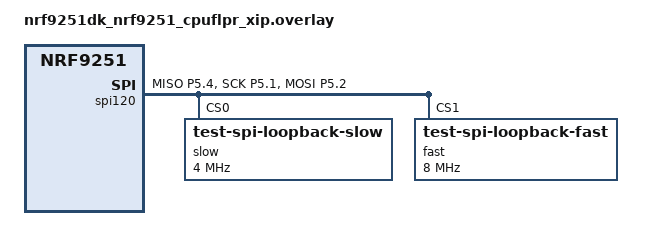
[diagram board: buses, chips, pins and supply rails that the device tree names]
/*
 * Copyright (c) 2026 Nordic Semiconductor ASA
 *
 * SPDX-License-Identifier: LicenseRef-Nordic-5-Clause
 */

&pinctrl {
	spi120_default_alt: spi120_default_alt {
		group1 {
			psels = <NRF_PSEL(SPIM_MISO, 5, 4)>;
		};

		group2 {
			psels = <NRF_PSEL(SPIM_SCK, 5, 1)>,
				<NRF_PSEL(SPIM_MOSI, 5, 2)>;
			nordic,drive-mode = <NRF_DRIVE_E0E1>;
		};
	};

	spi120_sleep_alt: spi120_sleep_alt {
		group1 {
			psels = <NRF_PSEL(SPIM_SCK, 5, 1)>,
				<NRF_PSEL(SPIM_MISO, 5, 4)>,
				<NRF_PSEL(SPIM_MOSI, 5, 2)>;
			low-power-enable;
		};
	};
};

&spi120 {
	status = "okay";
	pinctrl-0 = <&spi120_default_alt>;
	pinctrl-1 = <&spi120_sleep_alt>;
	pinctrl-names = "default", "sleep";
	overrun-character = <0x00>;
	zephyr,pm-device-runtime-auto;

	slow@0 {
		compatible = "test-spi-loopback-slow";
		reg = <0>;
		spi-max-frequency = <DT_FREQ_M(4)>;
	};

	fast@1 {
		compatible = "test-spi-loopback-fast";
		reg = <1>;
		spi-max-frequency = <DT_FREQ_M(8)>;
	};
};

&uart120 {
	status = "disabled";
};
